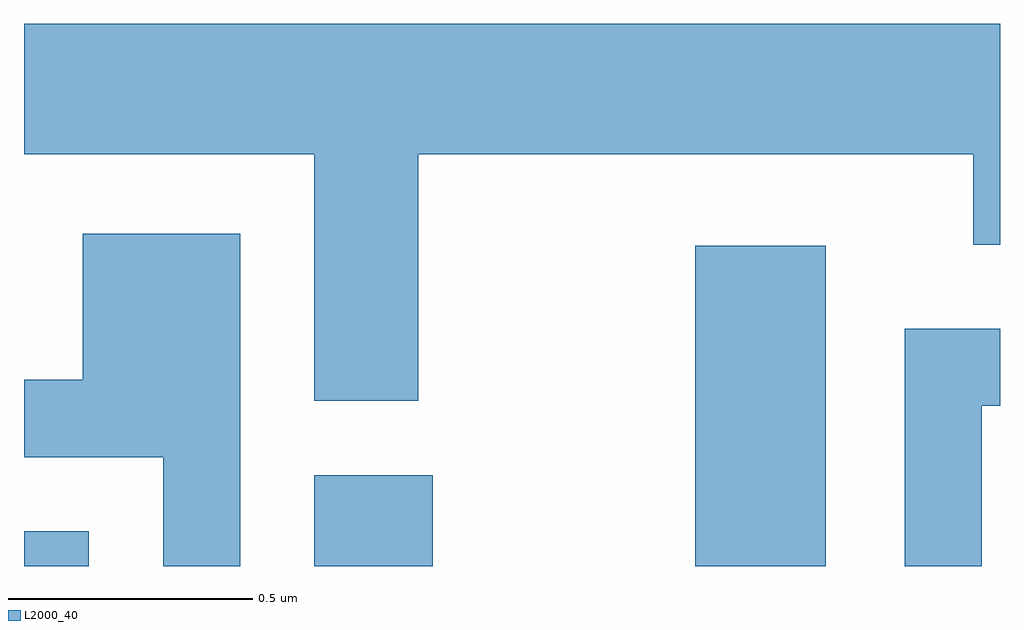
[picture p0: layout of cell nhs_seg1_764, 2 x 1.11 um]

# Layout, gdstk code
import gdstk
lib = gdstk.Library(unit=1e-6, precision=1e-09)
def R(c, l, rs):  # rectangles x0, y0, x1, y1
    for r in rs: c.add(gdstk.rectangle(r[:2], r[2:], *l))
def P(c, l, *ps):  # polygons
    for p in ps: c.add(gdstk.Polygon(p, *l))
L2000_40 = (2000, 40)

nhs_seg1_764 = lib.new_cell('nhs_seg1_764')
R(nhs_seg1_764, L2000_40, [(190.611,918.712,190.744,918.784), (191.206,918.712,191.449,918.899), (191.986,918.712,192.254,919.369)])
P(nhs_seg1_764, L2000_40, [(191.419,919.556),(192.556,919.556),(192.556,919.371),(192.611,919.371),(192.611,919.824),(190.611,919.824),(190.611,919.556),(191.206,919.556),(191.206,919.051),(191.419,919.051)],
  [(191.054,919.394),(190.731,919.394),(190.731,919.094),(190.611,919.094),(190.611,918.936),(190.896,918.936),(190.896,918.712),(191.054,918.712)],
  [(192.574,919.041),(192.611,919.041),(192.611,919.199),(192.416,919.199),(192.416,918.712),(192.574,918.712)])

lib.write_gds('nhs_seg1_764.gds')
